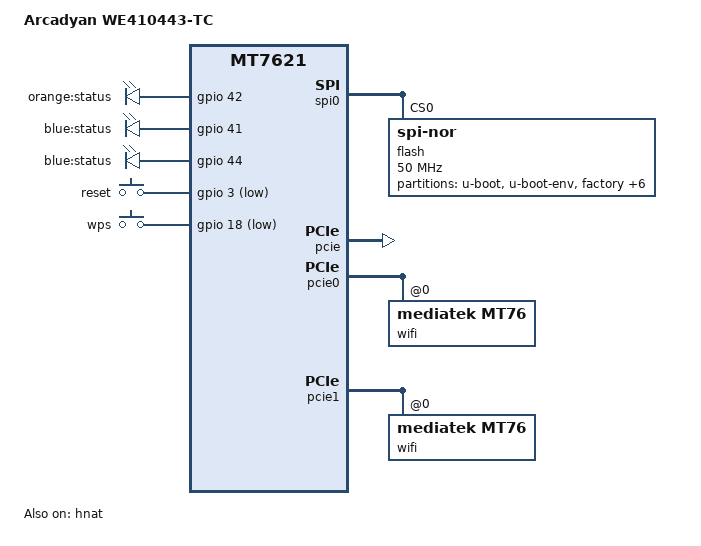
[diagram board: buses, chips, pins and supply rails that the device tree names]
// SPDX-License-Identifier: GPL-2.0-or-later OR MIT

#include "mt7621.dtsi"

#include <dt-bindings/gpio/gpio.h>
#include <dt-bindings/input/input.h>

/ {
	compatible = "arcadyan,we410443-tc", "mediatek,mt7621-soc";
	model = "Arcadyan WE410443-TC";

	aliases {
		led-boot = &led_status_blue;
		led-failsafe = &led_status_red;
		led-running = &led_status_blue;
		led-upgrade = &led_status_blue;
		label-mac-device = &gmac0;
	};

	chosen {
		bootargs = "console=ttyS0,57600";
	};

	leds {
		compatible = "gpio-leds";

		led_status_orange {
			label = "orange:status";
			gpios = <&gpio 42 GPIO_ACTIVE_HIGH>;
		};

		led_status_blue {
			label = "blue:status";
			gpios = <&gpio 41 GPIO_ACTIVE_HIGH>;
		};
		
		led_status_red {
			label = "blue:status";
			gpios = <&gpio 44 GPIO_ACTIVE_HIGH>;
		};
	};

	keys {
		compatible = "gpio-keys";

		reset {
			label = "reset";
			gpios = <&gpio 3 GPIO_ACTIVE_LOW>;
			linux,code = <KEY_RESTART>;
		};
		
		wps {
			label = "wps";
			gpios = <&gpio 18 GPIO_ACTIVE_LOW>;
			linux,code = <KEY_WPS_BUTTON>;
		};
	};
};

&spi0 {
	status = "okay";

	flash@0 {
		compatible = "jedec,spi-nor";
		reg = <0>;
		spi-max-frequency = <50000000>;

		partitions {
			compatible = "fixed-partitions";
			#address-cells = <1>;
			#size-cells = <1>;

			partition@0 {
				label = "u-boot";
				reg = <0x0 0x30000>;
				read-only;
			};

			partition@30000 {
				label = "u-boot-env";
				reg = <0x30000 0x10000>;
				read-only;
			};

			factory: partition@40000 {
				label = "factory";
				reg = <0x40000 0x10000>;
				read-only;
			};

			partition@50000 {
				compatible = "denx,uimage";
				label = "firmware";
				reg = <0x50000 0x7b0000>;
			};

			partition@800000 {
				label = "crash_dump";
				reg = <0x800000 0x10000>;
				read-only;
			};

			partition@810000 {
				label = "firmware_backup";
				reg = <0x810000 0x7b0000>;
				read-only;
			};
			partition@fc0000 {
				label = "seccfg";
				reg = <0xfc0000 0x10000>;
				read-only;
			};
			partition@fd0000 {
				label = "pricfg";
				reg = <0xfd0000 0x10000>;
				read-only;
			};
			partition@fe0000 {
				label = "arc_log";
				reg = <0xfe0000 0x10000>;
				read-only;
			};
		};
	};
};


&pcie {
	status = "okay";
};

&pcie0 {
	wifi@0,0 {
		compatible = "mediatek,mt76";
		reg = <0x0000 0 0 0 0>;
		mediatek,mtd-eeprom = <&factory 0x0>;
		ieee80211-freq-limit = <2400000 2500000>;
	};
};

&pcie1 {
	wifi@0,0 {
		compatible = "mediatek,mt76";
		reg = <0x0000 0 0 0 0>;
		mediatek,mtd-eeprom = <&factory 0x8000>;
		ieee80211-freq-limit = <5000000 6000000>;
	};
};

&gmac0 {
	nvmem-cells = <&macaddr_factory_fff0>;
	nvmem-cell-names = "mac-address";
};

&gmac1 {
	nvmem-cells = <&macaddr_factory_fff6>;
	nvmem-cell-names = "mac-address";
};

&switch0 {
	/* must delete compatible property */
	/delete-property/ compatible;
};

&hnat {
	mtketh-wan = "eth1";
	mtketh-ppd = "eth0";
	mtketh-lan = "eth0";
	ext-devices = "wlan0","wlan1","rax0","ra0", "rai0","apclii0","apclix0", "apcli0";
	mtketh-max-gmac = <2>;
	status = "okay";
};

&gsw {
	mediatek,mdio = <&mdio>;
	mediatek,portmap = "llllw";
	mediatek,mcm;
	mt7530,direct-phy-access;

	resets = <&rstctrl 2>;
	reset-names = "mcm";

	port5: port@5 {
		compatible = "mediatek,mt753x-port";
		reg = <5>;
		phy-mode = "rgmii";
		fixed-link {
			speed = <1000>;
			full-duplex;
		};
	};

	port6: port@6 {
		compatible = "mediatek,mt753x-port";
		reg = <6>;
		phy-mode = "rgmii";
		fixed-link {
			speed = <1000>;
			full-duplex;
		};
	};

	mdio-bus {
		#address-cells = <1>;
		#size-cells = <0>;
	};
};


&state_default {
	gpio {
		groups = "i2c", "jtag";
		function = "gpio";
	};
};

&factory {
	compatible = "nvmem-cells";
	#address-cells = <1>;
	#size-cells = <1>;

	macaddr_factory_fff0: macaddr@e000 {
		reg = <0xfff0 0x6>;
	};

	macaddr_factory_fff6: macaddr@e006 {
		reg = <0xfff6 0x6>;
	};
};
